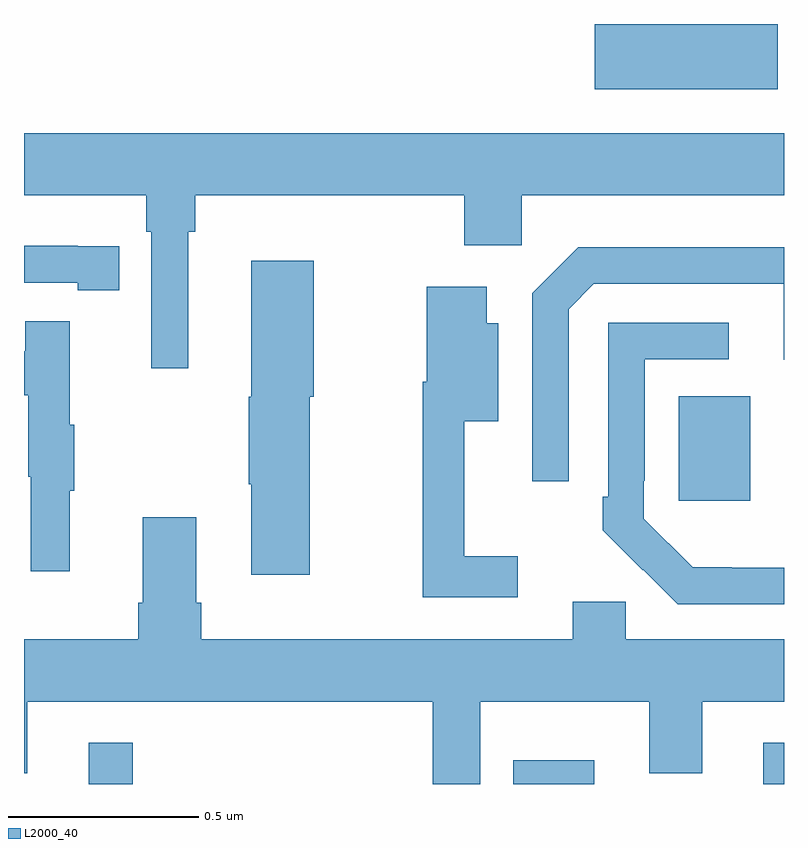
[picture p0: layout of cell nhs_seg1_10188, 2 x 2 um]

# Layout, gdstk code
import gdstk
lib = gdstk.Library(unit=1e-6, precision=1e-09)
def R(c, l, rs):  # rectangles x0, y0, x1, y1
    for r in rs: c.add(gdstk.rectangle(r[:2], r[2:], *l))
def P(c, l, *ps):  # polygons
    for p in ps: c.add(gdstk.Polygon(p, *l))
L2000_40 = (2000, 40)

nhs_seg1_10188 = lib.new_cell('nhs_seg1_10188')
R(nhs_seg1_10188, L2000_40, [(238.17,534.199,238.286,534.307), (239.288,534.199,239.5,534.262), (239.946,534.199,240,534.307), (239.723,534.945,239.911,535.219)])
P(nhs_seg1_10188, L2000_40, [(239.983,536.199),(239.732,536.199),(239.732,536.198),(239.502,536.198),(239.502,536.027),(239.983,536.027)],
  [(238.432,535.652),(238.451,535.652),(238.451,535.748),(239.159,535.748),(239.159,535.617),(239.31,535.617),(239.31,535.748),(240,535.748),(240,535.912),(238,535.912),(238,535.748),(238.322,535.748),(238.322,535.652),(238.335,535.652),(238.335,535.293),(238.432,535.293)],
  [(238.25,535.614),(238.142,535.614),(238.142,535.615),(238,535.615),(238,535.518),(238.142,535.518),(238.142,535.498),(238.25,535.498)],
  [(239.433,535.449),(239.499,535.515),(239.999,535.515),(239.999,535.315),(240,535.315),(240,535.612),(239.458,535.612),(239.337,535.491),(239.337,534.996),(239.433,534.996)],
  [(238.752,535.218),(238.762,535.218),(238.762,535.576),(238.598,535.576),(238.598,535.218),(238.591,535.218),(238.591,534.988),(238.598,534.988),(238.598,534.75),(238.752,534.75)],
  [(239.299,534.799),(239.159,534.799),(239.159,535.154),(239.248,535.154),(239.248,535.411),(239.218,535.411),(239.218,535.507),(239.06,535.507),(239.06,535.258),(239.049,535.258),(239.049,534.69),(239.299,534.69)],
  [(238.121,534.971),(238.132,534.971),(238.132,535.145),(238.121,535.145),(238.121,535.417),(238.003,535.417),(238.003,535.338),(238,535.338),(238,535.222),(238.011,535.222),(238.011,535.008),(238.018,535.008),(238.018,534.759),(238.121,534.759)],
  [(240,534.768),(239.863,534.768),(239.863,534.769),(239.76,534.769),(239.631,534.897),(239.631,534.997),(239.634,534.997),(239.634,535.317),(239.854,535.317),(239.854,535.413),(239.538,535.413),(239.538,534.955),(239.523,534.955),(239.523,534.867),(239.628,534.762),(239.629,534.763),(239.72,534.672),(240,534.672)],
  [(239.583,534.678),(239.444,534.678),(239.444,534.58),(238.466,534.58),(238.466,534.676),(238.453,534.676),(238.453,534.901),(238.313,534.901),(238.313,534.676),(238.301,534.676),(238.301,534.58),(238,534.58),(238,534.227),(238.009,534.227),(238.009,534.416),(239.075,534.416),(239.075,534.199),(239.2,534.199),(239.2,534.416),(239.645,534.416),(239.645,534.227),(239.785,534.227),(239.785,534.416),(240,534.416),(240,534.58),(239.583,534.58)])

lib.write_gds('nhs_seg1_10188.gds')
